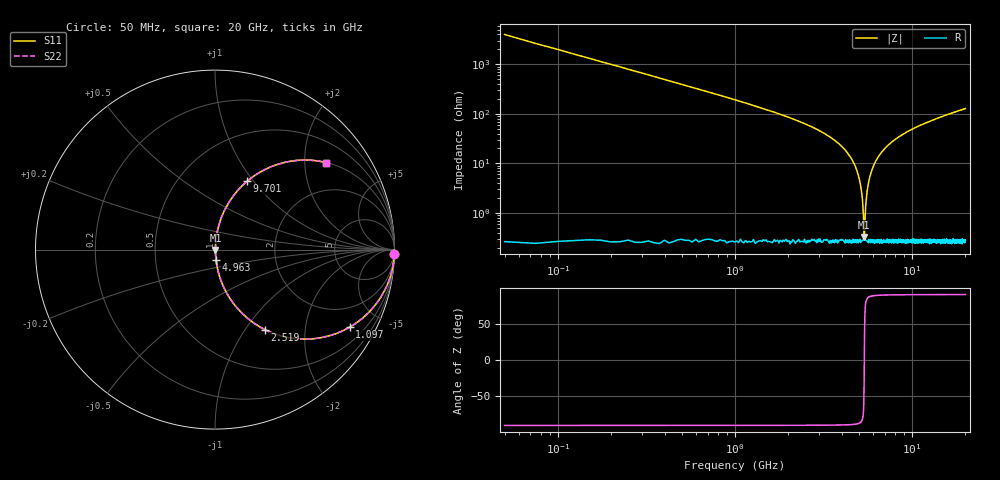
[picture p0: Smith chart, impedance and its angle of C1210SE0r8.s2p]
! AVX Thin Film Operation		Date: April 2012
! Description: Accu-P® Series, Thin Film, SMD, RF Capacitor
! Part Number: 12101J0R8PBTTR
!	100	MHz	-	20.05	GHz
!	Serial	Measurements
#	MHZ	S	MA	R	50
!	S11	S21	S12	S22
!	dB	Phase	dB	Phase	dB	Phase	dB	Phase
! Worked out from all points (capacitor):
!   801 points, 50 MHz to 20 GHz, reference 50 ohm
!   read as one part in series: C = 800 fF near 149.8 MHz
!   lowest |Z| = 326 mohm at 5.362 GHz (marker M1)
!   series resonance near 5.373 GHz, so ESL is about 1.1 nH
!   S11 on the Smith chart (normalised r, x): 50 MHz: 0, -80; 1.097 GHz: 1.01, -3.47; 2.519 GHz: 1.00, -1.23; 4.963 GHz: 1.01, -0.12; 9.701 GHz: 1.00, +0.93; 20 GHz: 1.01, +2.56
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50  1 -1.4  0.025 88.6  0.025 88.6  1 -1.4
224.563  0.994 -6.5  0.112 83.5  0.112 83.5  0.994 -6.5
399.125  0.98 -11.4  0.198 78.6  0.198 78.6  0.98 -11.4
1097.375  0.866 -29.9  0.499 60.0  0.499 60.0  0.866 -29.9
2518.813  0.524 -58.2  0.85 31.6  0.85 31.6  0.524 -58.2
3391.625  0.332 -70.2  0.941 19.4  0.941 19.4  0.332 -70.2
4364.188  0.153 -80.2  0.986 8.8  0.986 8.8  0.153 -80.2
4962.688  0.059 -84.0  0.996 3.4  0.996 3.4  0.059 -84.0
5162.188  0.03 -83.1  0.997 1.7  0.997 1.7  0.03 -83.1
5286.875  0.012 -76.6  0.997 0.7  0.997 0.7  0.012 -76.6
5361.688  0.003115 -30.1  0.997 0.1  0.997 0.1  0.003115 -30.1
5436.5  0.009078 72.2  0.997 -0.5  0.997 -0.5  0.009078 72.2
5586.125  0.029 83.0  0.997 -1.6  0.997 -1.6  0.029 83.0
5785.625  0.055 84.0  0.996 -3.1  0.996 -3.1  0.055 84.0
6159.688  0.101 82.7  0.992 -5.8  0.992 -5.8  0.101 82.7
6708.313  0.163 79.7  0.984 -9.4  0.984 -9.4  0.163 79.7
7905.313  0.281 73.2  0.957 -16.3  0.957 -16.3  0.281 73.2
9700.813  0.42 64.9  0.905 -24.8  0.905 -24.8  0.42 64.9
10025  0.441 63.5  0.895 -26.2  0.895 -26.2  0.441 63.5
13366.62  0.61 52.2  0.79 -37.6  0.79 -37.6  0.61 52.2
16683.31  0.717 44.1  0.696 -45.8  0.696 -45.8  0.717 44.1
20000  0.787 38.0  0.615 -51.9  0.615 -51.9  0.787 38.0
